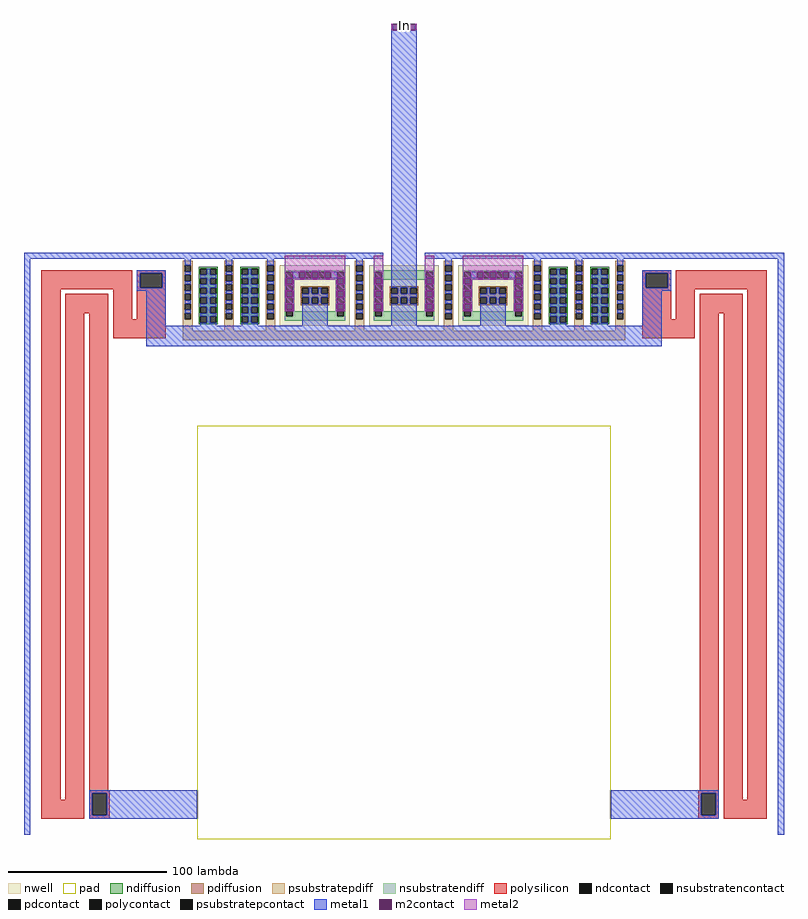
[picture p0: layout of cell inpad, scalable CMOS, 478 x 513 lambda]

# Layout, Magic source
magic
tech scmos
<< nwell >>
rect 159 323 203 361
rect 215 323 259 361
rect 271 323 315 361
<< ndiffusion >>
rect 108 359 120 360
rect 108 355 109 359
rect 113 355 115 359
rect 119 355 120 359
rect 108 353 120 355
rect 108 349 109 353
rect 113 349 115 353
rect 119 349 120 353
rect 108 347 120 349
rect 108 343 109 347
rect 113 343 115 347
rect 119 343 120 347
rect 108 341 120 343
rect 108 337 109 341
rect 113 337 115 341
rect 119 337 120 341
rect 108 335 120 337
rect 108 331 109 335
rect 113 331 115 335
rect 119 331 120 335
rect 108 329 120 331
rect 108 325 109 329
rect 113 325 115 329
rect 119 325 120 329
rect 108 324 120 325
rect 134 359 146 360
rect 134 355 135 359
rect 139 355 141 359
rect 145 355 146 359
rect 134 353 146 355
rect 134 349 135 353
rect 139 349 141 353
rect 145 349 146 353
rect 134 347 146 349
rect 134 343 135 347
rect 139 343 141 347
rect 145 343 146 347
rect 134 341 146 343
rect 134 337 135 341
rect 139 337 141 341
rect 145 337 146 341
rect 134 335 146 337
rect 134 331 135 335
rect 139 331 141 335
rect 145 331 146 335
rect 134 329 146 331
rect 134 325 135 329
rect 139 325 141 329
rect 145 325 146 329
rect 134 324 146 325
rect 328 359 340 360
rect 328 355 329 359
rect 333 355 335 359
rect 339 355 340 359
rect 328 353 340 355
rect 328 349 329 353
rect 333 349 335 353
rect 339 349 340 353
rect 328 347 340 349
rect 328 343 329 347
rect 333 343 335 347
rect 339 343 340 347
rect 328 341 340 343
rect 328 337 329 341
rect 333 337 335 341
rect 339 337 340 341
rect 328 335 340 337
rect 328 331 329 335
rect 333 331 335 335
rect 339 331 340 335
rect 328 329 340 331
rect 328 325 329 329
rect 333 325 335 329
rect 339 325 340 329
rect 328 324 340 325
rect 354 359 366 360
rect 354 355 355 359
rect 359 355 361 359
rect 365 355 366 359
rect 354 353 366 355
rect 354 349 355 353
rect 359 349 361 353
rect 365 349 366 353
rect 354 347 366 349
rect 354 343 355 347
rect 359 343 361 347
rect 365 343 366 347
rect 354 341 366 343
rect 354 337 355 341
rect 359 337 361 341
rect 365 337 366 341
rect 354 335 366 337
rect 354 331 355 335
rect 359 331 361 335
rect 365 331 366 335
rect 354 329 366 331
rect 354 325 355 329
rect 359 325 361 329
rect 365 325 366 329
rect 354 324 366 325
<< pdiffusion >>
rect 172 347 190 348
rect 172 343 173 347
rect 177 343 179 347
rect 183 343 185 347
rect 189 343 190 347
rect 172 341 190 343
rect 172 337 173 341
rect 177 337 179 341
rect 183 337 185 341
rect 189 337 190 341
rect 172 336 190 337
rect 228 347 246 348
rect 228 343 229 347
rect 233 343 235 347
rect 239 343 241 347
rect 245 343 246 347
rect 228 341 246 343
rect 228 337 229 341
rect 233 337 235 341
rect 239 337 241 341
rect 245 337 246 341
rect 228 336 246 337
rect 284 347 302 348
rect 284 343 285 347
rect 289 343 291 347
rect 295 343 297 347
rect 301 343 302 347
rect 284 341 302 343
rect 284 337 285 341
rect 289 337 291 341
rect 295 337 297 341
rect 301 337 302 341
rect 284 336 302 337
<< ndcontact >>
rect 109 355 113 359
rect 115 355 119 359
rect 109 349 113 353
rect 115 349 119 353
rect 109 343 113 347
rect 115 343 119 347
rect 109 337 113 341
rect 115 337 119 341
rect 109 331 113 335
rect 115 331 119 335
rect 109 325 113 329
rect 115 325 119 329
rect 135 355 139 359
rect 141 355 145 359
rect 135 349 139 353
rect 141 349 145 353
rect 135 343 139 347
rect 141 343 145 347
rect 135 337 139 341
rect 141 337 145 341
rect 135 331 139 335
rect 141 331 145 335
rect 135 325 139 329
rect 141 325 145 329
rect 329 355 333 359
rect 335 355 339 359
rect 329 349 333 353
rect 335 349 339 353
rect 329 343 333 347
rect 335 343 339 347
rect 329 337 333 341
rect 335 337 339 341
rect 329 331 333 335
rect 335 331 339 335
rect 329 325 333 329
rect 335 325 339 329
rect 355 355 359 359
rect 361 355 365 359
rect 355 349 359 353
rect 361 349 365 353
rect 355 343 359 347
rect 361 343 365 347
rect 355 337 359 341
rect 361 337 365 341
rect 355 331 359 335
rect 361 331 365 335
rect 355 325 359 329
rect 361 325 365 329
<< pdcontact >>
rect 173 343 177 347
rect 179 343 183 347
rect 185 343 189 347
rect 173 337 177 341
rect 179 337 183 341
rect 185 337 189 341
rect 229 343 233 347
rect 235 343 239 347
rect 241 343 245 347
rect 229 337 233 341
rect 235 337 239 341
rect 241 337 245 341
rect 285 343 289 347
rect 291 343 295 347
rect 297 343 301 347
rect 285 337 289 341
rect 291 337 295 341
rect 297 337 301 341
<< psubstratepdiff >>
rect 98 361 104 364
rect 98 357 99 361
rect 103 357 104 361
rect 124 361 130 364
rect 98 355 104 357
rect 98 351 99 355
rect 103 351 104 355
rect 98 349 104 351
rect 98 345 99 349
rect 103 345 104 349
rect 98 343 104 345
rect 98 339 99 343
rect 103 339 104 343
rect 98 337 104 339
rect 98 333 99 337
rect 103 333 104 337
rect 98 331 104 333
rect 98 327 99 331
rect 103 327 104 331
rect 98 320 104 327
rect 124 357 125 361
rect 129 357 130 361
rect 150 361 156 364
rect 124 355 130 357
rect 124 351 125 355
rect 129 351 130 355
rect 124 349 130 351
rect 124 345 125 349
rect 129 345 130 349
rect 124 343 130 345
rect 124 339 125 343
rect 129 339 130 343
rect 124 337 130 339
rect 124 333 125 337
rect 129 333 130 337
rect 124 331 130 333
rect 124 327 125 331
rect 129 327 130 331
rect 124 320 130 327
rect 150 357 151 361
rect 155 357 156 361
rect 206 361 212 364
rect 150 355 156 357
rect 150 351 151 355
rect 155 351 156 355
rect 150 349 156 351
rect 150 345 151 349
rect 155 345 156 349
rect 150 343 156 345
rect 150 339 151 343
rect 155 339 156 343
rect 150 337 156 339
rect 150 333 151 337
rect 155 333 156 337
rect 150 331 156 333
rect 150 327 151 331
rect 155 327 156 331
rect 150 320 156 327
rect 206 357 207 361
rect 211 357 212 361
rect 262 361 268 364
rect 206 355 212 357
rect 206 351 207 355
rect 211 351 212 355
rect 206 349 212 351
rect 206 345 207 349
rect 211 345 212 349
rect 206 343 212 345
rect 206 339 207 343
rect 211 339 212 343
rect 206 337 212 339
rect 206 333 207 337
rect 211 333 212 337
rect 206 331 212 333
rect 206 327 207 331
rect 211 327 212 331
rect 206 320 212 327
rect 262 357 263 361
rect 267 357 268 361
rect 318 361 324 364
rect 262 355 268 357
rect 262 351 263 355
rect 267 351 268 355
rect 262 349 268 351
rect 262 345 263 349
rect 267 345 268 349
rect 262 343 268 345
rect 262 339 263 343
rect 267 339 268 343
rect 262 337 268 339
rect 262 333 263 337
rect 267 333 268 337
rect 262 331 268 333
rect 262 327 263 331
rect 267 327 268 331
rect 262 320 268 327
rect 318 357 319 361
rect 323 357 324 361
rect 344 361 350 364
rect 318 355 324 357
rect 318 351 319 355
rect 323 351 324 355
rect 318 349 324 351
rect 318 345 319 349
rect 323 345 324 349
rect 318 343 324 345
rect 318 339 319 343
rect 323 339 324 343
rect 318 337 324 339
rect 318 333 319 337
rect 323 333 324 337
rect 318 331 324 333
rect 318 327 319 331
rect 323 327 324 331
rect 318 320 324 327
rect 344 357 345 361
rect 349 357 350 361
rect 370 361 376 364
rect 344 355 350 357
rect 344 351 345 355
rect 349 351 350 355
rect 344 349 350 351
rect 344 345 345 349
rect 349 345 350 349
rect 344 343 350 345
rect 344 339 345 343
rect 349 339 350 343
rect 344 337 350 339
rect 344 333 345 337
rect 349 333 350 337
rect 344 331 350 333
rect 344 327 345 331
rect 349 327 350 331
rect 344 320 350 327
rect 370 357 371 361
rect 375 357 376 361
rect 370 355 376 357
rect 370 351 371 355
rect 375 351 376 355
rect 370 349 376 351
rect 370 345 371 349
rect 375 345 376 349
rect 370 343 376 345
rect 370 339 371 343
rect 375 339 376 343
rect 370 337 376 339
rect 370 333 371 337
rect 375 333 376 337
rect 370 331 376 333
rect 370 327 371 331
rect 375 327 376 331
rect 370 320 376 327
rect 98 314 376 320
<< nsubstratendiff >>
rect 162 357 200 358
rect 162 353 163 357
rect 167 353 175 357
rect 179 353 183 357
rect 187 353 195 357
rect 199 353 200 357
rect 162 352 200 353
rect 162 349 168 352
rect 162 345 163 349
rect 167 345 168 349
rect 194 349 200 352
rect 162 341 168 345
rect 162 337 163 341
rect 167 337 168 341
rect 162 333 168 337
rect 194 345 195 349
rect 199 345 200 349
rect 194 341 200 345
rect 194 337 195 341
rect 199 337 200 341
rect 162 329 163 333
rect 167 332 168 333
rect 194 333 200 337
rect 194 332 195 333
rect 167 329 195 332
rect 199 329 200 333
rect 162 326 200 329
rect 218 357 256 358
rect 218 353 219 357
rect 223 353 251 357
rect 255 353 256 357
rect 218 352 256 353
rect 218 349 224 352
rect 218 345 219 349
rect 223 345 224 349
rect 250 349 256 352
rect 218 341 224 345
rect 218 337 219 341
rect 223 337 224 341
rect 218 333 224 337
rect 250 345 251 349
rect 255 345 256 349
rect 250 341 256 345
rect 250 337 251 341
rect 255 337 256 341
rect 218 329 219 333
rect 223 332 224 333
rect 250 333 256 337
rect 250 332 251 333
rect 223 329 251 332
rect 255 329 256 333
rect 218 326 256 329
rect 274 357 312 358
rect 274 353 275 357
rect 279 353 287 357
rect 291 353 295 357
rect 299 353 307 357
rect 311 353 312 357
rect 274 352 312 353
rect 274 349 280 352
rect 274 345 275 349
rect 279 345 280 349
rect 306 349 312 352
rect 274 341 280 345
rect 274 337 275 341
rect 279 337 280 341
rect 274 333 280 337
rect 306 345 307 349
rect 311 345 312 349
rect 306 341 312 345
rect 306 337 307 341
rect 311 337 312 341
rect 274 329 275 333
rect 279 332 280 333
rect 306 333 312 337
rect 306 332 307 333
rect 279 329 307 332
rect 311 329 312 333
rect 274 326 312 329
<< psubstratepcontact >>
rect 99 357 103 361
rect 99 351 103 355
rect 99 345 103 349
rect 99 339 103 343
rect 99 333 103 337
rect 99 327 103 331
rect 125 357 129 361
rect 125 351 129 355
rect 125 345 129 349
rect 125 339 129 343
rect 125 333 129 337
rect 125 327 129 331
rect 151 357 155 361
rect 151 351 155 355
rect 151 345 155 349
rect 151 339 155 343
rect 151 333 155 337
rect 151 327 155 331
rect 207 357 211 361
rect 207 351 211 355
rect 207 345 211 349
rect 207 339 211 343
rect 207 333 211 337
rect 207 327 211 331
rect 263 357 267 361
rect 263 351 267 355
rect 263 345 267 349
rect 263 339 267 343
rect 263 333 267 337
rect 263 327 267 331
rect 319 357 323 361
rect 319 351 323 355
rect 319 345 323 349
rect 319 339 323 343
rect 319 333 323 337
rect 319 327 323 331
rect 345 357 349 361
rect 345 351 349 355
rect 345 345 349 349
rect 345 339 349 343
rect 345 333 349 337
rect 345 327 349 331
rect 371 357 375 361
rect 371 351 375 355
rect 371 345 375 349
rect 371 339 375 343
rect 371 333 375 337
rect 371 327 375 331
<< nsubstratencontact >>
rect 163 353 167 357
rect 175 353 179 357
rect 183 353 187 357
rect 195 353 199 357
rect 163 345 167 349
rect 163 337 167 341
rect 195 345 199 349
rect 195 337 199 341
rect 163 329 167 333
rect 195 329 199 333
rect 219 353 223 357
rect 251 353 255 357
rect 219 345 223 349
rect 219 337 223 341
rect 251 345 255 349
rect 251 337 255 341
rect 219 329 223 333
rect 251 329 255 333
rect 275 353 279 357
rect 287 353 291 357
rect 295 353 299 357
rect 307 353 311 357
rect 275 345 279 349
rect 275 337 279 341
rect 307 345 311 349
rect 307 337 311 341
rect 275 329 279 333
rect 307 329 311 333
<< polysilicon >>
rect 9 346 66 358
rect 9 25 21 346
rect 24 331 51 343
rect 24 25 36 331
rect 9 13 36 25
rect 39 31 51 331
rect 54 327 66 346
rect 69 356 87 358
rect 69 347 71 356
rect 85 347 87 356
rect 69 327 87 347
rect 54 315 87 327
rect 387 356 405 358
rect 387 347 389 356
rect 403 347 405 356
rect 387 327 405 347
rect 408 346 465 358
rect 408 327 420 346
rect 387 315 420 327
rect 423 331 450 343
rect 423 31 435 331
rect 39 29 52 31
rect 39 15 41 29
rect 50 15 52 29
rect 39 13 52 15
rect 422 29 435 31
rect 422 15 424 29
rect 433 15 435 29
rect 422 13 435 15
rect 438 25 450 331
rect 453 25 465 346
rect 438 13 465 25
<< polycontact >>
rect 71 347 85 356
rect 389 347 403 356
rect 41 15 50 29
rect 424 15 433 29
<< metal1 >>
rect 229 509 230 513
rect 244 509 245 513
rect -2 365 224 369
rect -2 3 2 365
rect 99 361 103 365
rect 69 356 87 358
rect 69 347 71 356
rect 85 347 87 356
rect 69 345 87 347
rect 75 323 87 345
rect 125 361 129 365
rect 99 355 103 357
rect 99 349 103 351
rect 99 343 103 345
rect 99 337 103 339
rect 99 331 103 333
rect 113 355 115 359
rect 109 353 119 355
rect 113 349 115 353
rect 109 347 119 349
rect 113 343 115 347
rect 109 341 119 343
rect 113 337 115 341
rect 109 335 119 337
rect 113 331 115 335
rect 109 329 119 331
rect 113 325 115 329
rect 151 361 155 365
rect 125 355 129 357
rect 125 349 129 351
rect 125 343 129 345
rect 125 337 129 339
rect 125 331 129 333
rect 139 355 141 359
rect 135 353 145 355
rect 139 349 141 353
rect 135 347 145 349
rect 139 343 141 347
rect 135 341 145 343
rect 139 337 141 341
rect 135 335 145 337
rect 139 331 141 335
rect 135 329 145 331
rect 109 323 119 325
rect 139 325 141 329
rect 207 361 211 365
rect 151 355 155 357
rect 151 349 155 351
rect 151 343 155 345
rect 151 337 155 339
rect 151 331 155 333
rect 167 353 171 357
rect 191 353 195 357
rect 177 343 179 347
rect 183 343 185 347
rect 173 341 189 343
rect 177 337 179 341
rect 183 337 185 341
rect 135 323 145 325
rect 173 323 189 337
rect 207 355 211 357
rect 207 349 211 351
rect 207 343 211 345
rect 207 337 211 339
rect 207 331 211 333
rect 229 347 245 509
rect 250 365 476 369
rect 263 361 267 365
rect 319 361 323 365
rect 345 361 349 365
rect 233 343 235 347
rect 239 343 241 347
rect 229 341 245 343
rect 233 337 235 341
rect 239 337 241 341
rect 229 323 245 337
rect 263 355 267 357
rect 263 349 267 351
rect 263 343 267 345
rect 263 337 267 339
rect 263 331 267 333
rect 279 353 283 357
rect 303 353 307 357
rect 289 343 291 347
rect 295 343 297 347
rect 285 341 301 343
rect 289 337 291 341
rect 295 337 297 341
rect 285 323 301 337
rect 319 355 323 357
rect 319 349 323 351
rect 319 343 323 345
rect 319 337 323 339
rect 319 331 323 333
rect 333 355 335 359
rect 329 353 339 355
rect 333 349 335 353
rect 329 347 339 349
rect 333 343 335 347
rect 329 341 339 343
rect 333 337 335 341
rect 329 335 339 337
rect 333 331 335 335
rect 329 329 339 331
rect 333 325 335 329
rect 371 361 375 365
rect 345 355 349 357
rect 345 349 349 351
rect 345 343 349 345
rect 345 337 349 339
rect 345 331 349 333
rect 359 355 361 359
rect 355 353 365 355
rect 359 349 361 353
rect 355 347 365 349
rect 359 343 361 347
rect 355 341 365 343
rect 359 337 361 341
rect 355 335 365 337
rect 359 331 361 335
rect 355 329 365 331
rect 329 323 339 325
rect 359 325 361 329
rect 371 355 375 357
rect 371 349 375 351
rect 371 343 375 345
rect 371 337 375 339
rect 371 331 375 333
rect 387 356 405 358
rect 387 347 389 356
rect 403 347 405 356
rect 387 345 405 347
rect 355 323 365 325
rect 387 323 399 345
rect 75 310 399 323
rect 39 29 107 31
rect 39 15 41 29
rect 50 15 107 29
rect 39 13 107 15
rect 367 29 435 31
rect 367 15 424 29
rect 433 15 435 29
rect 367 13 435 15
rect 472 3 476 365
<< m2contact >>
rect 230 509 244 513
rect 171 353 175 357
rect 179 353 183 357
rect 187 353 191 357
rect 163 349 167 353
rect 195 349 199 353
rect 163 341 167 345
rect 163 333 167 337
rect 195 341 199 345
rect 195 333 199 337
rect 219 349 223 353
rect 219 341 223 345
rect 219 333 223 337
rect 251 349 255 353
rect 251 341 255 345
rect 251 333 255 337
rect 283 353 287 357
rect 291 353 295 357
rect 299 353 303 357
rect 275 349 279 353
rect 307 349 311 353
rect 275 341 279 345
rect 275 333 279 337
rect 307 341 311 345
rect 307 333 311 337
<< metal2 >>
rect 229 509 230 513
rect 244 509 245 513
rect 162 357 200 367
rect 162 353 171 357
rect 175 353 179 357
rect 183 353 187 357
rect 191 353 200 357
rect 162 349 163 353
rect 167 352 195 353
rect 167 349 168 352
rect 162 345 168 349
rect 162 341 163 345
rect 167 341 168 345
rect 162 337 168 341
rect 162 333 163 337
rect 167 333 168 337
rect 162 332 168 333
rect 194 349 195 352
rect 199 349 200 353
rect 194 345 200 349
rect 194 341 195 345
rect 199 341 200 345
rect 194 337 200 341
rect 194 333 195 337
rect 199 333 200 337
rect 194 332 200 333
rect 218 353 224 367
rect 218 349 219 353
rect 223 349 224 353
rect 218 345 224 349
rect 218 341 219 345
rect 223 341 224 345
rect 218 337 224 341
rect 218 333 219 337
rect 223 333 224 337
rect 218 332 224 333
rect 250 353 256 367
rect 250 349 251 353
rect 255 349 256 353
rect 250 345 256 349
rect 250 341 251 345
rect 255 341 256 345
rect 250 337 256 341
rect 250 333 251 337
rect 255 333 256 337
rect 250 332 256 333
rect 274 357 312 367
rect 274 353 283 357
rect 287 353 291 357
rect 295 353 299 357
rect 303 353 312 357
rect 274 349 275 353
rect 279 352 307 353
rect 279 349 280 352
rect 274 345 280 349
rect 274 341 275 345
rect 279 341 280 345
rect 274 337 280 341
rect 274 333 275 337
rect 279 333 280 337
rect 274 332 280 333
rect 306 349 307 352
rect 311 349 312 353
rect 306 345 312 349
rect 306 341 307 345
rect 311 341 312 345
rect 306 337 312 341
rect 306 333 307 337
rect 311 333 312 337
rect 306 332 312 333
use bondingpad  bondingpad_0
transform 1 0 107 0 1 0
box 0 0 260 260
<< labels >>
rlabel m2contact 237 512 237 512 6 In
<< end >>

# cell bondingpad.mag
magic
tech scmos
<< pad >>
rect 0 0 260 260
<< end >>
